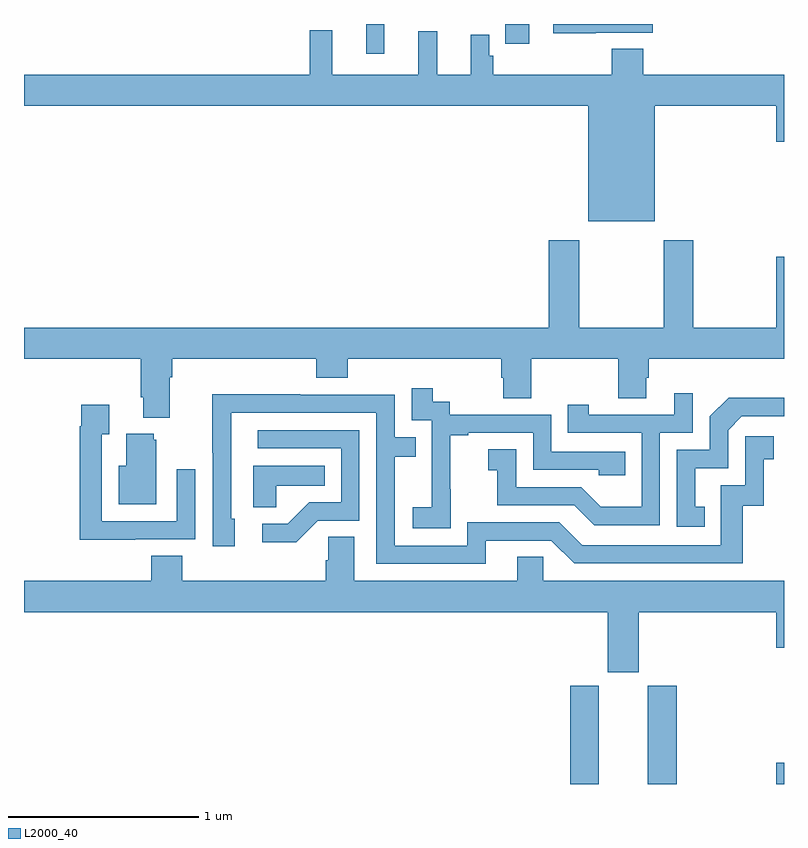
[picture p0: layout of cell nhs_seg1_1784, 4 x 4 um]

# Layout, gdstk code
import gdstk
lib = gdstk.Library(unit=1e-6, precision=1e-09)
def R(c, l, rs):  # rectangles x0, y0, x1, y1
    for r in rs: c.add(gdstk.rectangle(r[:2], r[2:], *l))
def P(c, l, *ps):  # polygons
    for p in ps: c.add(gdstk.Polygon(p, *l))
L2000_40 = (2000, 40)

nhs_seg1_1784 = lib.new_cell('nhs_seg1_1784')
R(nhs_seg1_1784, L2000_40, [(211.874,512.199,212.026,512.715), (212.282,512.199,212.435,512.715), (212.96,512.199,213,512.311), (210.8,516.042,210.897,516.199), (211.534,516.096,211.66,516.199)])
P(nhs_seg1_1784, L2000_40, [(212.009,516.153),(212.309,516.153),(212.309,516.199),(211.785,516.199),(211.785,516.151),(212.009,516.151)],
  [(212.32,515.768),(212.96,515.768),(212.96,515.58),(213,515.58),(213,515.932),(212.258,515.932),(212.258,516.068),(212.093,516.068),(212.093,515.932),(211.469,515.932),(211.469,516.033),(211.449,516.033),(211.449,516.142),(211.352,516.142),(211.352,515.932),(211.175,515.932),(211.175,516.16),(211.076,516.16),(211.076,515.932),(210.623,515.932),(210.623,516.166),(210.505,516.166),(210.505,515.932),(209,515.932),(209,515.768),(211.97,515.768),(211.97,515.162),(212.32,515.162)],
  [(209,514.436),(209.615,514.436),(209.615,514.234),(209.627,514.234),(209.627,514.127),(209.767,514.127),(209.767,514.34),(209.78,514.34),(209.78,514.436),(210.539,514.436),(210.539,514.337),(210.704,514.337),(210.704,514.436),(211.511,514.436),(211.511,514.338),(211.523,514.338),(211.523,514.228),(211.671,514.228),(211.671,514.436),(212.128,514.436),(212.128,514.228),(212.275,514.228),(212.275,514.338),(212.288,514.338),(212.288,514.436),(213,514.436),(213,514.975),(212.96,514.975),(212.96,514.6),(212.523,514.6),(212.523,515.062),(212.368,515.062),(212.368,514.6),(211.923,514.6),(211.923,515.062),(211.763,515.062),(211.763,514.6),(209,514.6)],
  [(211.245,513.751),(211.244,513.751),(211.244,514.035),(211.339,514.035),(211.339,514.047),(211.68,514.047),(211.68,513.852),(212.025,513.852),(212.025,513.825),(212.165,513.825),(212.165,513.948),(211.776,513.948),(211.776,514.143),(211.242,514.143),(211.242,514.212),(211.15,514.212),(211.15,514.282),(211.041,514.282),(211.041,514.113),(211.146,514.113),(211.146,513.884),(211.145,513.884),(211.145,513.655),(211.047,513.655),(211.047,513.545),(211.245,513.545)],
  [(212.346,514.047),(212.52,514.047),(212.52,514.255),(212.423,514.255),(212.423,514.143),(211.972,514.143),(211.972,514.195),(211.861,514.195),(211.861,514.047),(212.25,514.047),(212.25,513.658),(212.036,513.658),(211.932,513.762),(211.59,513.762),(211.59,513.961),(211.443,513.961),(211.443,513.851),(211.492,513.851),(211.492,513.666),(211.895,513.666),(212,513.561),(212.346,513.561)],
  [(211.429,513.48),(211.776,513.48),(211.896,513.36),(212.783,513.36),(212.783,513.663),(212.894,513.663),(212.894,513.909),(212.947,513.909),(212.947,514.03),(212.796,514.03),(212.796,513.771),(212.667,513.771),(212.667,513.456),(211.938,513.456),(211.818,513.576),(211.332,513.576),(211.332,513.453),(210.951,513.453),(210.951,513.922),(211.061,513.922),(211.061,514.023),(210.951,514.023),(210.951,514.248),(210.455,514.248),(210.455,514.25),(209.992,514.25),(209.992,513.943),(209.994,513.943),(209.994,513.45),(210.109,513.45),(210.109,513.594),(210.09,513.594),(210.09,514.152),(210.855,514.152),(210.855,513.357),(211.429,513.357)],
  [(212.582,513.657),(212.533,513.657),(212.533,513.861),(212.706,513.861),(212.706,514.062),(212.778,514.134),(213,514.134),(213,514.232),(212.708,514.232),(212.61,514.134),(212.61,513.957),(212.436,513.957),(212.436,513.552),(212.582,513.552)],
  [(209.585,513.486),(209.901,513.486),(209.901,513.856),(209.805,513.856),(209.805,513.582),(209.409,513.582),(209.409,514.039),(209.449,514.039),(209.449,514.195),(209.301,514.195),(209.301,514.082),(209.293,514.082),(209.293,513.485),(209.585,513.485)],
  [(210.546,513.585),(210.765,513.585),(210.765,514.062),(210.231,514.062),(210.231,513.966),(210.669,513.966),(210.669,513.681),(210.5,513.681),(210.389,513.57),(210.255,513.57),(210.255,513.472),(210.433,513.472)],
  [(209.695,514.011),(209.684,514.011),(209.684,514.042),(209.537,514.042),(209.537,513.874),(209.498,513.874),(209.498,513.671),(209.695,513.671)],
  [(210.327,513.77),(210.584,513.77),(210.584,513.874),(210.206,513.874),(210.206,513.655),(210.327,513.655)],
  [(212.236,513.104),(212.96,513.104),(212.96,512.916),(213,512.916),(213,513.268),(211.734,513.268),(211.734,513.395),(211.595,513.395),(211.595,513.268),(210.739,513.268),(210.739,513.5),(210.6,513.5),(210.6,513.377),(210.587,513.377),(210.587,513.268),(209.834,513.268),(209.834,513.401),(209.669,513.401),(209.669,513.268),(209,513.268),(209,513.104),(212.072,513.104),(212.072,512.787),(212.236,512.787)])

lib.write_gds('nhs_seg1_1784.gds')
